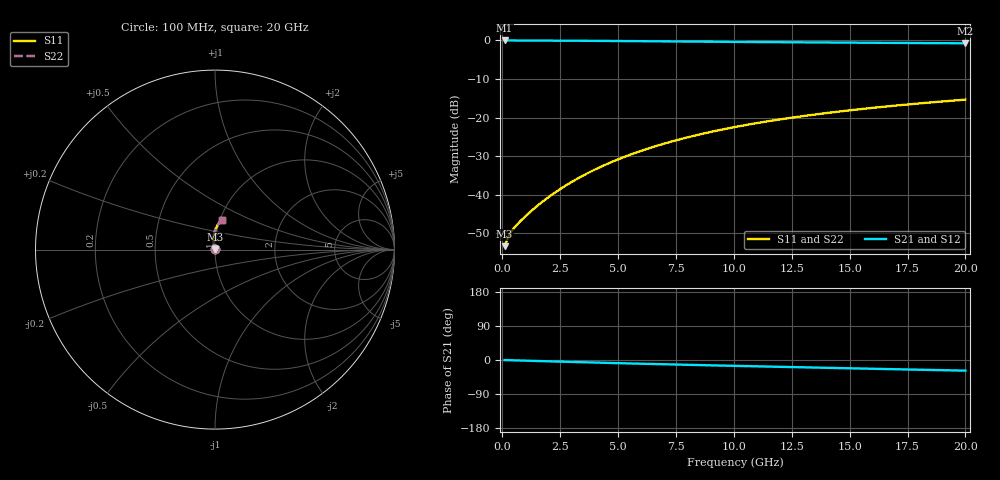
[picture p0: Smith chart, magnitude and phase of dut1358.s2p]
! Touchstone file exported from HFSS 2024.1.0
!  File:  C:/UserFiles/LocalFiles/RDL_TSV_Batchsim/temp_RDL_bottom_1358_1780370600.aedt
!  Generated:  11:25:35 AM Jun  2, 2026
!  Design:  RDL_bottom
!  Project:  temp_RDL_bottom_1358_1780370600
!  Setup:  Setup1
!  Solution:  Sweep
! Variables:
!  dtsv = 10.80580581um
!  hbump = 3um
!  htsv = 63.3um
!  ldown = 472um
!  lrdl = 100um
!  p = 40
!  p1 = 40.98um
!  rhole = 1um
!  t = 450um
!  tdown = 3.28um
!  trdl = 3.915915916um
!  wdown = 29.39um
!  wrdl = 20um
# GHz S MA R 50.000000
! Terminal data exported
! Port[1] = RDL1_T1
! Port[2] = RDL1_T2
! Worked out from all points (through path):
!   200 points, 100 MHz to 20 GHz, reference 50 ohm
!   highest |S21| = -0.02 dB at 100 MHz (marker M1); lowest = -0.8 dB at 20 GHz (marker M2)
!   group delay of S21, straight-line fit = 3.83 ps
!   lowest |S11| = -53.3 dB at 100 MHz (marker M3), VSWR 1.00, Z = 50.2 + j0.0726 ohm
!   |S11| at or under -10 dB: start of sweep to end of sweep
!   |S22| runs from -53.3 to -15.4 dB; largest |S21 - S12| = 2.6e-15
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0.1  0.002161 19.6  0.9979 -0.2  0.9979 -0.2  0.002161 19.6
! Gamma 0 0 0 0
! Port Impedance 50 0 50 0
0.2  0.002586 31.0  0.9977 -0.4  0.9977 -0.4  0.002586 31.0
0.3  0.003006 37.3  0.9975 -0.6  0.9975 -0.6  0.003006 37.3
0.4  0.003371 41.8  0.9973 -0.7  0.9973 -0.7  0.003371 41.8
0.5  0.003697 45.7  0.9971 -0.9  0.9971 -0.9  0.003697 45.7
0.7  0.004311 52.9  0.9967 -1.2  0.9967 -1.2  0.004311 52.9
1.1  0.005622 65.0  0.9961 -1.9  0.9961 -1.9  0.005622 65.0
1.6  0.007556 76.1  0.995 -2.8  0.995 -2.8  0.007556 76.1
2.2  0.01031 85.2  0.9934 -3.8  0.9934 -3.8  0.01031 85.2
2.8  0.01352 91.2  0.9913 -4.8  0.9913 -4.8  0.01353 91.2
3.5  0.01782 95.8  0.9885 -6.0  0.9885 -6.0  0.01782 95.8
4.2  0.02266 98.5  0.9853 -7.1  0.9853 -7.1  0.02266 98.5
5  0.02877 100.2  0.9814 -8.3  0.9814 -8.3  0.02877 100.2
5.9  0.03626 100.7  0.9768 -9.7  0.9768 -9.7  0.03627 100.7
6.8  0.04427 100.4  0.9721 -11.0  0.9721 -11.0  0.04427 100.4
8.4  0.05933 98.5  0.9638 -13.3  0.9638 -13.3  0.05934 98.5
10.1  0.07598 95.7  0.9556 -15.6  0.9556 -15.6  0.07599 95.7
11.7  0.09185 92.7  0.9484 -17.7  0.9484 -17.7  0.09186 92.7
13.4  0.1086 89.5  0.9412 -19.9  0.9412 -19.9  0.1086 89.5
15  0.1242 86.5  0.935 -21.9  0.935 -21.9  0.1242 86.5
16.7  0.1404 83.3  0.9287 -24.0  0.9287 -24.0  0.1404 83.3
20  0.1707 77.5  0.9172 -28.1  0.9172 -28.1  0.1707 77.5
